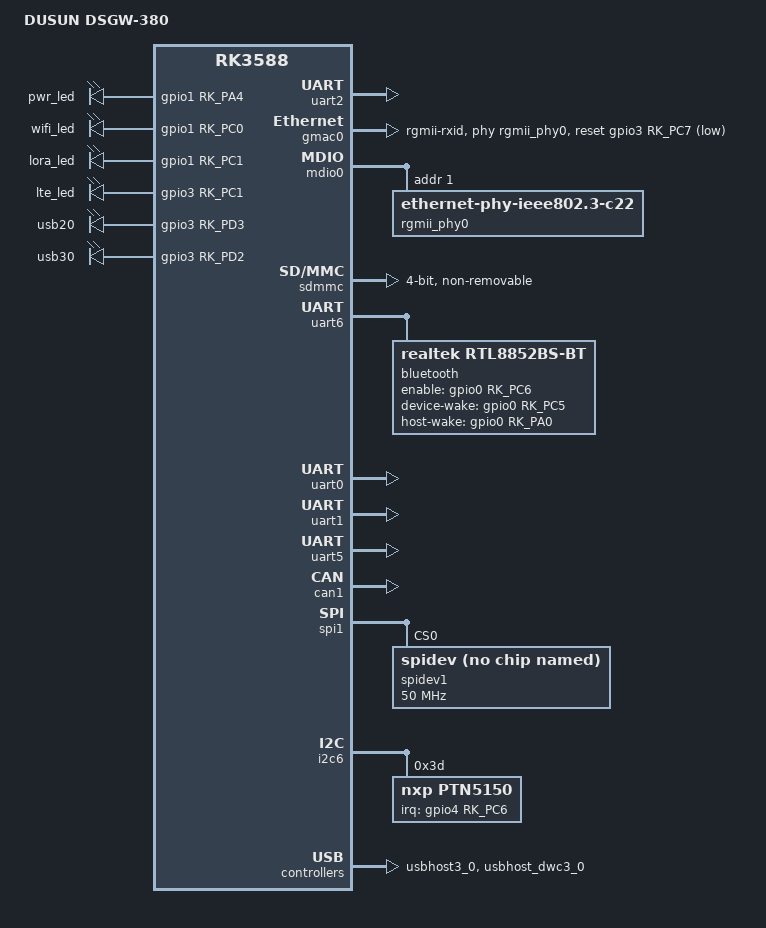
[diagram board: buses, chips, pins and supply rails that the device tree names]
// SPDX-License-Identifier: (GPL-2.0+ OR MIT)
/*
 * DUSUN DSGW-380 IoT gateway, Rockchip RK3588.
 *
 * Based on the Rockchip EVB7 V11 reference board. Differences from the EVB
 * follow the DTB that the vendor firmware boots with (kernel 5.10.160).
 */

/dts-v1/;

#include "rk3588-evb7-v11.dtsi"
#include "rk3588-linux.dtsi"

/ {
	model = "DUSUN DSGW-380";
	compatible = "dusun,dsgw-380", "rockchip,rk3588";

	/delete-node/ chosen;

	reserved-memory {
		cma {
			reg = <0x0 (256 * 0x100000) 0x0 (128 * 0x100000)>;
		};
	};
};

/*
 * EVB camera power switches. Their pins are HDMI1 CEC (GPIO2_C4) and
 * SPI1 (GPIO1_D2, GPIO1_D3) on this board.
 */
/delete-node/ &vcc_mipicsi0;
/delete-node/ &vcc_mipicsi1;
/delete-node/ &vcc_mipidcphy0;

/* EVB LCD power switch; GPIO2_C1 is a GMAC0 RGMII pin on this board */
&vcc3v3_lcd_n {
	status = "disabled";
};

/* Debug console on plain UART2 (ttyS2), not the FIQ debugger */
&fiq_debugger {
	status = "disabled";
};

&uart2 {
	pinctrl-names = "default";
	pinctrl-0 = <&uart2m0_xfer>;
	status = "okay";
};

/* U-Boot packs no OP-TEE */
&optee {
	status = "disabled";
};

/* Ethernet: two RTL8211F PHYs */
&gmac0 {
	/* Use rgmii-rxid mode to disable rx delay inside Soc */
	phy-mode = "rgmii-rxid";
	clock_in_out = "output";

	snps,reset-gpio = <&gpio3 RK_PC7 GPIO_ACTIVE_LOW>;
	snps,reset-active-low;
	/* Reset time is 20ms, 100ms for rtl8211f */
	snps,reset-delays-us = <0 20000 100000>;

	pinctrl-names = "default";
	pinctrl-0 = <&gmac0_miim
		     &gmac0_tx_bus2
		     &gmac0_rx_bus2
		     &gmac0_rgmii_clk
		     &gmac0_rgmii_bus>;

	tx_delay = <0x47>;

	phy-handle = <&rgmii_phy0>;
	status = "okay";
};

&mdio0 {
	rgmii_phy0: phy@1 {
		compatible = "ethernet-phy-ieee802.3-c22";
		reg = <0x1>;
	};
};

&gmac1 {
	tx_delay = <0x45>;
};

/*
 * WiFi (RTL8852BS) on the SDMMC controller. The controller switches the
 * I/O rail (vccio_sd_s0, RK806 PLDO5) from 3.3 V to 1.8 V for SDR104.
 * 200 MHz is the SDMMC controller maximum.
 */
&sdmmc {
	max-frequency = <200000000>;
	clock-frequency = <200000000>;
	clock-freq-min-max = <200000 200000000>;
	no-sd;
	no-mmc;
	bus-width = <4>;
	disable-wp;
	cap-sd-highspeed;
	cap-sdio-irq;
	keep-power-in-suspend;
	mmc-pwrseq = <&sdio_pwrseq>;
	non-removable;
	support-sdio;
	sd-uhs-sdr104;
	sd-uhs-sdr50;
	vqmmc-supply = <&vccio_sd_s0>;
	pinctrl-names = "default";
	pinctrl-0 = <&sdmmc_bus4 &sdmmc_cmd &sdmmc_clk>;
	/delete-property/ no-sdio;
	/delete-property/ cap-mmc-highspeed;
	/delete-property/ vmmc-supply;
	status = "okay";
};

&sdio {
	status = "disabled";
};

&sdio_pwrseq {
	/delete-property/ clocks;
	/delete-property/ clock-names;
	reset-gpios = <&gpio3 RK_PC0 GPIO_ACTIVE_LOW>;
};

&wireless_wlan {
	pinctrl-0 = <&wifi_clk_32k>;
	WIFI,reset_gpio = <&gpio3 RK_PC0 GPIO_ACTIVE_HIGH>;
	WIFI,host_wake_irq = <&gpio0 RK_PB0 GPIO_ACTIVE_LOW>;
};

/* Bluetooth (RTL8852BS) on UART6, driven by hci_h5 */
&wireless_bluetooth {
	status = "disabled";
};

&uart6 {
	pinctrl-names = "default";
	pinctrl-0 = <&uart6m1_xfer &uart6m1_ctsn &uart6m1_rtsn>;
	status = "okay";

	bluetooth {
		compatible = "realtek,rtl8852bs-bt";
		enable-gpios = <&gpio0 RK_PC6 GPIO_ACTIVE_HIGH>;
		device-wake-gpios = <&gpio0 RK_PC5 GPIO_ACTIVE_HIGH>;
		host-wake-gpios = <&gpio0 RK_PA0 GPIO_ACTIVE_HIGH>;
		pinctrl-names = "default";
		pinctrl-0 = <&bt_reset_gpio &bt_wake_gpio &bt_irq_gpio>;
	};
};

&uart9 {
	status = "disabled";
};

/* Serial ports and buses on the board connectors */
&uart0 {
	pinctrl-names = "default";
	pinctrl-0 = <&uart0m2_xfer>;
	status = "okay";
};

&uart1 {
	pinctrl-names = "default";
	pinctrl-0 = <&uart1m1_xfer>;
	status = "okay";
};

&uart5 {
	pinctrl-names = "default";
	pinctrl-0 = <&uart5m1_xfer>;
	status = "okay";
};

&can1 {
	pinctrl-names = "default";
	pinctrl-0 = <&can1m1_pins>;
	assigned-clocks = <&cru CLK_CAN1>;
	assigned-clock-rates = <200000000>;
	status = "okay";
};

&spi1 {
	pinctrl-names = "default";
	pinctrl-0 = <&spi1m2_cs0 &spi1m2_pins>;
	num-cs = <1>;
	max-freq = <50000000>;
	status = "okay";

	spidev1: spidev@0 {
		compatible = "rockchip,spidev";
		reg = <0>;
		spi-max-frequency = <50000000>;
		status = "okay";
	};
};

/* USB */
&i2c6 {
	ptn5150: ptn5150@3d {
		compatible = "nxp,ptn5150";
		reg = <0x3d>;
		interrupt-parent = <&gpio4>;
		interrupts = <RK_PC6 IRQ_TYPE_LEVEL_LOW>;
		pinctrl-names = "default";
		pinctrl-0 = <&pinctrl_ptn5150>;
		status = "okay";

		connector {
			compatible = "usb-c-connector";
			label = "USB-C";
			power-role = "dual";
			data-role = "dual";
			try-power-role = "sink";
			source-pdos = <PDO_FIXED(5000, 3000, PDO_FIXED_USB_COMM)>;
			sink-pdos = <PDO_FIXED(5000, 3000, PDO_FIXED_USB_COMM)
				     PDO_VAR(5000, 20000, 3000)>;
			op-sink-microwatt = <15000000>;
			self-powered;
		};
	};
};

&usbc0 {
	status = "disabled";
};

/* EVB RTC; not fitted on this board */
&hym8563 {
	status = "disabled";
};

&usbhost3_0 {
	status = "okay";
};

&usbhost_dwc3_0 {
	status = "okay";
};

/* Display: two HDMI ports */
/*
 * Clock HDMI pixels from the HDMI PHY PLLs. Without them the VOP accepts only
 * rates the system PLLs divide to exactly, and rejects e.g. 1920x1200 (154 MHz).
 */
&display_subsystem {
	clocks = <&hdptxphy_hdmi_clk0>, <&hdptxphy_hdmi_clk1>;
	clock-names = "hdmi0_phy_pll", "hdmi1_phy_pll";
};

&hdmi0 {
	/delete-property/ enable-gpios;
};

&hdmi1 {
	pinctrl-0 = <&hdmim0_tx1_cec &hdmim0_tx1_hpd &hdmim0_tx1_scl &hdmim0_tx1_sda>;
	/delete-property/ enable-gpios;
};

/* No DisplayPort on this board */
&dp0 {
	status = "disabled";
};

&dp0_in_vp2 {
	status = "disabled";
};

&dp0_sound {
	status = "disabled";
};

&dp1 {
	status = "disabled";
};

&dp1_in_vp2 {
	status = "disabled";
};

&usbdp_phy0_dp {
	status = "disabled";
};

&usbdp_phy1_dp {
	status = "disabled";
};

&dsi0 {
	status = "disabled";
};

&dsi0_in_vp3 {
	status = "disabled";
};

&mipi_dcphy0 {
	status = "disabled";
};

&route_dsi0 {
	status = "disabled";
};

&hdmirx_ctrler {
	status = "disabled";
};

/* Not populated: PCIe, audio codec, camera, sensors, touch */
&pcie2x1l0 {
	status = "disabled";
};

&pcie3x4 {
	status = "disabled";
};

&pcie30phy {
	status = "disabled";
};

&vcc3v3_pcie30 {
	status = "disabled";
};

&es8388_sound {
	status = "disabled";
};

&i2s0_8ch {
	status = "disabled";
};

&csi2_dphy0_hw {
	status = "disabled";
};

&csi2_dphy1_hw {
	status = "disabled";
};

&mipidcphy0 {
	status = "disabled";
};

&mipidcphy1 {
	status = "disabled";
};

&i2c4 {
	status = "disabled";
};

&i2c5 {
	status = "disabled";
};

&i2c7 {
	status = "disabled";
};

/* LEDs */
&leds {
	pinctrl-names = "default";
	pinctrl-0 = <&ios_io1 &ios_io2 &wifi_leds_gpio &lora_leds_gpio>;

	pwr_led {
		gpios = <&gpio1 RK_PA4 GPIO_ACTIVE_HIGH>;
		label = "pwr_led";
		default-state = "on";
	};

	wifi_led {
		gpios = <&gpio1 RK_PC0 GPIO_ACTIVE_HIGH>;
		label = "wifi_led";
		default-state = "on";
	};

	lora_led {
		gpios = <&gpio1 RK_PC1 GPIO_ACTIVE_HIGH>;
		label = "lora_led";
		default-state = "on";
	};

	lte_led {
		gpios = <&gpio3 RK_PC1 GPIO_ACTIVE_HIGH>;
		label = "lte_led";
		default-state = "off";
	};

	usb20 {
		gpios = <&gpio3 RK_PD3 GPIO_ACTIVE_HIGH>;
		label = "usb20";
		default-state = "on";
	};

	usb30 {
		gpios = <&gpio3 RK_PD2 GPIO_ACTIVE_HIGH>;
		label = "usb30";
		default-state = "on";
	};
};

&pinctrl {
	ios {
		ios_io1: ios-io1 {
			rockchip,pins = <1 RK_PB1 RK_FUNC_GPIO &pcfg_pull_down>;
		};

		ios_io2: ios-io2 {
			rockchip,pins = <1 RK_PA7 RK_FUNC_GPIO &pcfg_pull_down>;
		};
	};

	leds {
		wifi_leds_gpio: wifi-leds-gpio {
			rockchip,pins = <3 RK_PD4 RK_FUNC_GPIO &pcfg_pull_down>;
		};

		lora_leds_gpio: lora-leds-gpio {
			rockchip,pins = <1 RK_PC1 RK_FUNC_GPIO &pcfg_pull_down>;
		};
	};

	usb-typec {
		pinctrl_ptn5150: pinctrl-ptn5150 {
			rockchip,pins = <4 RK_PC6 RK_FUNC_GPIO &pcfg_pull_up>;
		};
	};

	wireless-wlan {
		wifi_clk_32k: wifi-clk-32k {
			rockchip,pins = <0 RK_PB2 2 &pcfg_pull_down>;
		};
	};
};
